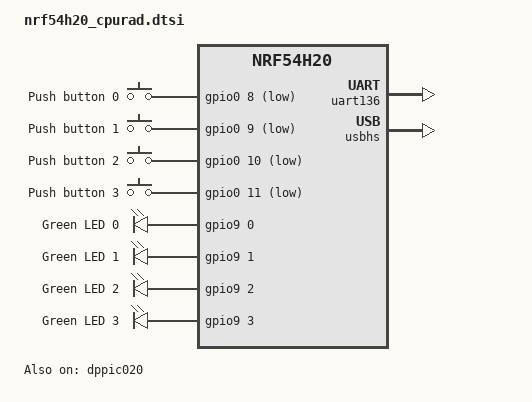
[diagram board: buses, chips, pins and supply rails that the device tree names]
/*
 * Copyright (c) 2025 Nordic Semiconductor ASA
 *
 * SPDX-License-Identifier: Apache-2.0
 */
 #include "memlayout.dtsi"

/ {
	buttons: buttons {
		compatible = "gpio-keys";
		status = "okay";

		button0: button_0 {
			gpios = <&gpio0 8 (GPIO_PULL_UP | GPIO_ACTIVE_LOW)>;
			label = "Push button 0";
			zephyr,code = <INPUT_KEY_0>;
		};

		button1: button_1 {
			gpios = <&gpio0 9 (GPIO_PULL_UP | GPIO_ACTIVE_LOW)>;
			label = "Push button 1";
			zephyr,code = <INPUT_KEY_1>;
		};

		button2: button_2 {
			gpios = <&gpio0 10 (GPIO_PULL_UP | GPIO_ACTIVE_LOW)>;
			label = "Push button 2";
			zephyr,code = <INPUT_KEY_2>;
		};

		button3: button_3 {
			gpios = <&gpio0 11 (GPIO_PULL_UP | GPIO_ACTIVE_LOW)>;
			label = "Push button 3";
			zephyr,code = <INPUT_KEY_3>;
		};
	};

	leds {
		compatible = "gpio-leds";

		led0: led_0 {
			gpios = < &gpio9 0 GPIO_ACTIVE_HIGH >;
			label = "Green LED 0";
		};

		led1: led_1 {
			gpios = < &gpio9 1 GPIO_ACTIVE_HIGH >;
			label = "Green LED 1";
		};

		led2: led_2 {
			gpios = < &gpio9 2 GPIO_ACTIVE_HIGH >;
			label = "Green LED 2";
		};

		led3: led_3 {
			gpios = < &gpio9 3 GPIO_ACTIVE_HIGH >;
			label = "Green LED 3";
		};
	};
	
	aliases {
		led0 = &led0;
		led1 = &led1;
		led2 = &led2;
		led3 = &led3;
		sw0 = &button0;                     
		sw1 = &button1;                     
		sw2 = &button2;                   
		sw3 = &button3; 
	};

	chosen {
		zephyr,console = &uart136;
	};

	hid_dev_0: hid_dev_0 {		
		compatible = "zephyr,hid-device";
		label = "HID0";
		protocol-code = "none";
		in-polling-period-us = <1000>;
		in-report-size = <64>;
	};
};

&gpio9 {
	status = "okay";
};

&gpio0 {
	status = "okay";
};

&gpio1 {
	status = "okay";
};

&gpio2 {
	status = "okay";
};

&gpiote130 {
	owned-channels = <0 1 2 3 4 5 6 7>;
	status = "okay";
};

&uart136 {
	status = "okay";
	memory-regions = <&cpurad_dma_region>;
};

&uart135 {
	status = "disabled";
};

&dppic020 {
	status = "okay";
	source-channels = < 0 1 2 3 4 5 >;
	sink-channels = < 6 7 8 9 10 11 >;
};
zephyr_udc0: &usbhs {
	status = "okay";
};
